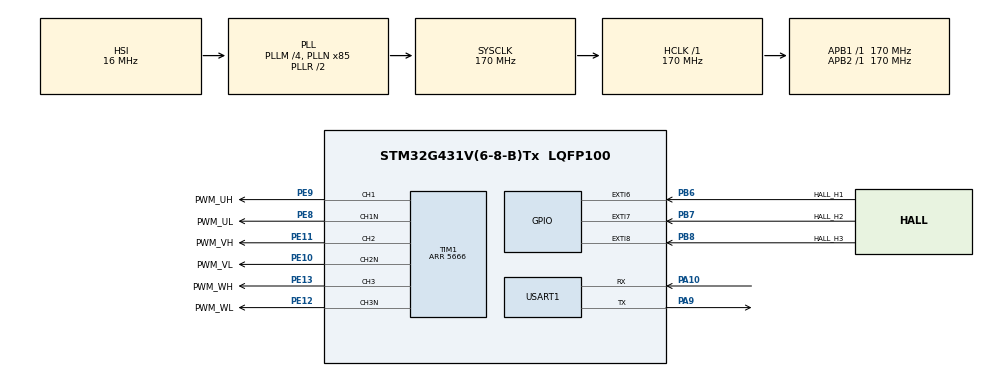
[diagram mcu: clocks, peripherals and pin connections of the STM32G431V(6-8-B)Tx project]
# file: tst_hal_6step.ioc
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Mcu.Family=STM32G4
Mcu.Name=STM32G431V(6-8-B)Tx
Mcu.Package=LQFP100
NVIC.EXTI9_5_IRQn=true\:0\:0\:false\:false\:true\:true\:true\:true
NVIC.PriorityGroup=NVIC_PRIORITYGROUP_4
NVIC.TIM1_BRK_TIM15_IRQn=true\:0\:0\:false\:false\:true\:true\:true\:true
NVIC.TIM1_UP_TIM16_IRQn=true\:0\:0\:false\:false\:true\:true\:true\:true
PA10.Mode=Asynchronous
PA10.Signal=USART1_RX
PA13.Mode=Trace_Asynchronous_SW
PA13.Signal=SYS_JTMS-SWDIO
PA14.Mode=Trace_Asynchronous_SW
PA14.Signal=SYS_JTCK-SWCLK
PA9.Mode=Asynchronous
PA9.Signal=USART1_TX
PB3.Mode=Trace_Asynchronous_SW
PB3.Signal=SYS_JTDO-SWO
PB6.GPIO_Label=HALL_H1
PB6.GPIO_ModeDefaultEXTI=GPIO_MODE_IT_RISING_FALLING
PB6.Signal=GPXTI6
PB7.GPIO_Label=HALL_H2
PB7.GPIO_ModeDefaultEXTI=GPIO_MODE_IT_RISING_FALLING
PB7.Signal=GPXTI7
PB8-BOOT0.GPIO_Label=HALL_H3
PB8-BOOT0.GPIO_ModeDefaultEXTI=GPIO_MODE_IT_RISING_FALLING
PB8-BOOT0.Signal=GPXTI8
PE10.GPIO_Label=PWM_VL
PE10.Mode=PWM Generation2 CH2 CH2N
PE10.Signal=TIM1_CH2N
PE11.GPIO_Label=PWM_VH
PE11.Signal=S_TIM1_CH2
PE12.GPIO_Label=PWM_WL
PE12.Mode=PWM Generation3 CH3 CH3N
PE12.Signal=TIM1_CH3N
PE13.GPIO_Label=PWM_WH
PE13.Signal=S_TIM1_CH3
PE8.GPIO_Label=PWM_UL
PE8.Mode=PWM Generation1 CH1 CH1N
PE8.Signal=TIM1_CH1N
PE9.GPIO_Label=PWM_UH
PE9.Signal=S_TIM1_CH1
ProjectManager.HeapSize=0x200
ProjectManager.StackSize=0x400
ProjectManager.TargetToolchain=STM32CubeIDE
RCC.ADC12Freq_Value=170000000
RCC.AHBFreq_Value=170000000
RCC.APB1Freq_Value=170000000
RCC.APB1TimFreq_Value=170000000
RCC.APB2Freq_Value=170000000
RCC.APB2TimFreq_Value=170000000
RCC.CortexFreq_Value=170000000
RCC.EXTERNAL_CLOCK_VALUE=12288000
RCC.HCLKFreq_Value=170000000
RCC.HSE_VALUE=8000000
RCC.HSI48_VALUE=48000000
RCC.HSI_VALUE=16000000
RCC.LSE_VALUE=32768
RCC.PLLM=RCC_PLLM_DIV4
RCC.PLLN=85
RCC.SYSCLKFreq_VALUE=170000000
RCC.SYSCLKSource=RCC_SYSCLKSOURCE_PLLCLK
RCC.USBFreq_Value=170000000
RCC.VCOOutputFreq_Value=340000000
SH.S_TIM1_CH1.0=TIM1_CH1,PWM Generation1 CH1 CH1N
SH.S_TIM1_CH2.0=TIM1_CH2,PWM Generation2 CH2 CH2N
SH.S_TIM1_CH3.0=TIM1_CH3,PWM Generation3 CH3 CH3N
TIM1.AutomaticOutput=TIM_AUTOMATICOUTPUT_DISABLE
TIM1.Break2Filter=3
TIM1.BreakPolarity=TIM_BREAKPOLARITY_LOW
TIM1.BreakState=TIM_BREAK_DISABLE
TIM1.Channel-PWM\ Generation1\ CH1\ CH1N=TIM_CHANNEL_1
TIM1.Channel-PWM\ Generation2\ CH2\ CH2N=TIM_CHANNEL_2
TIM1.Channel-PWM\ Generation3\ CH3\ CH3N=TIM_CHANNEL_3
TIM1.DeadTime=127
TIM1.OCIdleState_1=TIM_OCIDLESTATE_RESET
TIM1.OCNIdleState_1=TIM_OCNIDLESTATE_RESET
TIM1.OCNIdleState_2=TIM_OCNIDLESTATE_RESET
TIM1.OCNIdleState_3=TIM_OCNIDLESTATE_RESET
TIM1.OffStateIDLEMode=TIM_OSSI_DISABLE
TIM1.OffStateRunMode=TIM_OSSR_DISABLE
TIM1.PeriodNoDither=5666
TIM1.PulseNoDither_1=2200
TIM1.PulseNoDither_2=2200
TIM1.PulseNoDither_3=2200
TIM1.TIM_MasterSlaveMode=TIM_MASTERSLAVEMODE_DISABLE
USART1.VirtualMode-Asynchronous=VM_ASYNC
VP_SYS_VS_DBSignals.Mode=DisableDeadBatterySignals
VP_TIM1_VS_ClockSourceINT.Mode=Internal
board=custom

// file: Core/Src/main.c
/* USER CODE BEGIN Header */
/**
  ******************************************************************************
  * @file           : main.c
  * @brief          : Main program body
  ******************************************************************************
  * @attention
  *
  * Copyright (c) 2024 STMicroelectronics.
  * All rights reserved.
  *
  * This software is licensed under terms that can be found in the LICENSE file
  * in the root directory of this software component.
  * If no LICENSE file comes with this software, it is provided AS-IS.
  *
  ******************************************************************************
  */
/* USER CODE END Header */
#include "main.h"
#include "tim.h"
#include "usart.h"
#include "gpio.h"

/* USER CODE BEGIN Includes */
#include <stdio.h>
#include "mc/mc.h"
#include <stm32g4xx_ll_tim.h>
/* USER CODE END Includes */

/* USER CODE BEGIN PM */
#define TIMxCCER_MASK_CH123       (LL_TIM_CHANNEL_CH1 | LL_TIM_CHANNEL_CH2 | LL_TIM_CHANNEL_CH3 )

#define TIMxCCER_MASK_CH1N2N3N    (LL_TIM_CHANNEL_CH1N | LL_TIM_CHANNEL_CH2N | LL_TIM_CHANNEL_CH3N)
/* USER CODE END PM */

void SystemClock_Config(void);

int main(void)
{
  /* USER CODE BEGIN 1 */
    setbuf(stdout, NULL);
  /* USER CODE END 1 */

  /* MCU Configuration--------------------------------------------------------*/

  /* Reset of all peripherals, Initializes the Flash interface and the Systick. */
  HAL_Init();

  /* Configure the system clock */
  SystemClock_Config();

  /* Initialize all configured peripherals */
  MX_GPIO_Init();
  MX_USART1_UART_Init();
  MX_TIM1_Init();
  /* USER CODE BEGIN 2 */

  LL_TIM_EnableCounter( TIM1 );
  LL_TIM_CC_EnableChannel( TIM1, TIMxCCER_MASK_CH123 | TIMxCCER_MASK_CH1N2N3N );

  LL_TIM_ClearFlag_UPDATE( TIM1 );

    /*Turn on the three low side switches */
    LL_TIM_OC_SetCompareCH1(TIM1, 0u);
    LL_TIM_OC_SetCompareCH2(TIM1, 0u);
    LL_TIM_OC_SetCompareCH3(TIM1, 0u);
//    SixPwm_ResetOCPolarity(pHandle);
    LL_TIM_GenerateEvent_COM( TIM1 );
    /* Main PWM Output Enable */
    LL_TIM_EnableAllOutputs(TIM1);

  HAL_Delay( 3000 );
  printf( ">>>>\r\n" );
  BLDC_MotorCommutation( read_hall_pos() );
  BLDC_set_pwm( 4000 );
  /* USER CODE END 2 */

  /* Infinite loop */
  /* USER CODE BEGIN WHILE */
  while (1)
  {
    // LL_TIM_GenerateEvent_COM( TIM1 );
    /* USER CODE END WHILE */

    /* USER CODE BEGIN 3 */
   // BLDC_MotorCommutation( read_hall_pos() );
  }
  /* USER CODE END 3 */
}

void SystemClock_Config(void)
{
  RCC_OscInitTypeDef RCC_OscInitStruct = {0};
  RCC_ClkInitTypeDef RCC_ClkInitStruct = {0};

  /** Configure the main internal regulator output voltage
  */
  HAL_PWREx_ControlVoltageScaling(PWR_REGULATOR_VOLTAGE_SCALE1_BOOST);

  /** Initializes the RCC Oscillators according to the specified parameters
  * in the RCC_OscInitTypeDef structure.
  */
  RCC_OscInitStruct.OscillatorType = RCC_OSCILLATORTYPE_HSI;
  RCC_OscInitStruct.HSIState = RCC_HSI_ON;
  RCC_OscInitStruct.HSICalibrationValue = RCC_HSICALIBRATION_DEFAULT;
  RCC_OscInitStruct.PLL.PLLState = RCC_PLL_ON;
  RCC_OscInitStruct.PLL.PLLSource = RCC_PLLSOURCE_HSI;
  RCC_OscInitStruct.PLL.PLLM = RCC_PLLM_DIV4;
  RCC_OscInitStruct.PLL.PLLN = 85;
  RCC_OscInitStruct.PLL.PLLP = RCC_PLLP_DIV2;
  RCC_OscInitStruct.PLL.PLLQ = RCC_PLLQ_DIV2;
  RCC_OscInitStruct.PLL.PLLR = RCC_PLLR_DIV2;
  if (HAL_RCC_OscConfig(&RCC_OscInitStruct) != HAL_OK)
  {
    Error_Handler();
  }

  /** Initializes the CPU, AHB and APB buses clocks
  */
  RCC_ClkInitStruct.ClockType = RCC_CLOCKTYPE_HCLK|RCC_CLOCKTYPE_SYSCLK
                              |RCC_CLOCKTYPE_PCLK1|RCC_CLOCKTYPE_PCLK2;
  RCC_ClkInitStruct.SYSCLKSource = RCC_SYSCLKSOURCE_PLLCLK;
  RCC_ClkInitStruct.AHBCLKDivider = RCC_SYSCLK_DIV1;
  RCC_ClkInitStruct.APB1CLKDivider = RCC_HCLK_DIV1;
  RCC_ClkInitStruct.APB2CLKDivider = RCC_HCLK_DIV1;

  if (HAL_RCC_ClockConfig(&RCC_ClkInitStruct, FLASH_LATENCY_4) != HAL_OK)
  {
    Error_Handler();
  }
}

void Error_Handler(void)
{
  __disable_irq();
  while (1)
  {
  }
}
